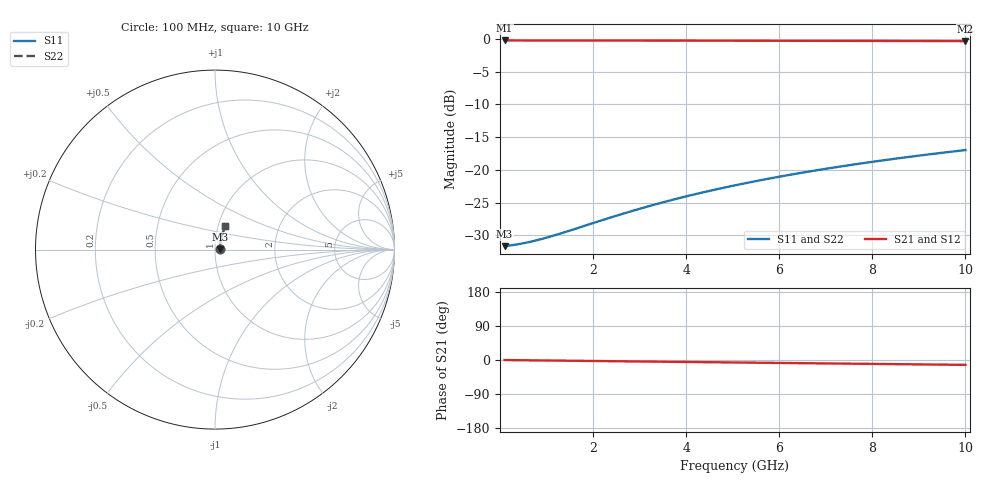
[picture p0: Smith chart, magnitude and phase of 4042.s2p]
# Hz S RI R 50.00
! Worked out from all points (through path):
!   100 points, 100 MHz to 10 GHz, reference 50 ohm
!   highest |S21| = -0.23 dB at 100 MHz (marker M1); lowest = -0.3 dB at 10 GHz (marker M2)
!   group delay of S21, straight-line fit = 3.57 ps
!   lowest |S11| = -31.7 dB at 100 MHz (marker M3), VSWR 1.05, Z = 52.7 + j0.143 ohm
!   |S11| at or under -10 dB: start of sweep to end of sweep
!   |S22| runs from -31.7 to -17.0 dB; largest |S21 - S12| = 0
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1e8  0.026 0.00135  0.974 -0.0022  0.974 -0.0022  0.026 0.00135
3e8  0.0264 0.00405  0.9736 -0.0066  0.9736 -0.0066  0.0264 0.00405
5e8  0.0266 0.00675  0.9734 -0.011  0.9734 -0.011  0.0266 0.00675
8e8  0.0269 0.0108  0.9731 -0.0176  0.9731 -0.0176  0.0269 0.0108
1e9  0.0271 0.0135  0.9728 -0.022  0.9728 -0.022  0.0271 0.0135
1.2e9  0.0273 0.0162  0.9726 -0.0264  0.9726 -0.0264  0.0273 0.0162
1.8e9  0.0281 0.0242  0.9718 -0.0395  0.9718 -0.0395  0.0281 0.0242
2.3e9  0.0289 0.0309  0.9709 -0.0504  0.9709 -0.0504  0.0289 0.0309
2.7e9  0.0296 0.0363  0.9701 -0.0592  0.9701 -0.0592  0.0296 0.0363
3.1e9  0.0304 0.0416  0.9692 -0.0679  0.9692 -0.0679  0.0304 0.0416
3.4e9  0.031 0.0456  0.9685 -0.0744  0.9685 -0.0744  0.031 0.0456
3.8e9  0.032 0.0509  0.9674 -0.0831  0.9674 -0.0831  0.032 0.0509
4.2e9  0.033 0.0561  0.9663 -0.0917  0.9663 -0.0917  0.033 0.0561
4.6e9  0.0342 0.0614  0.965 -0.1004  0.965 -0.1004  0.0342 0.0614
5.1e9  0.0357 0.0679  0.9633 -0.1112  0.9633 -0.1112  0.0357 0.0679
5.5e9  0.037 0.0731  0.9618 -0.1197  0.9618 -0.1197  0.037 0.0731
5.9e9  0.0385 0.0783  0.9602 -0.1283  0.9602 -0.1283  0.0385 0.0783
6.7e9  0.0416 0.0885  0.9567 -0.1453  0.9567 -0.1453  0.0416 0.0885
7.5e9  0.0451 0.0986  0.9528 -0.1622  0.9528 -0.1622  0.0451 0.0986
8.4e9  0.0494 0.1097  0.948 -0.181  0.948 -0.181  0.0494 0.1097
9.2e9  0.0536 0.1194  0.9433 -0.1975  0.9433 -0.1975  0.0536 0.1194
1e10  0.0581 0.129  0.9381 -0.2139  0.9381 -0.2139  0.0581 0.129
